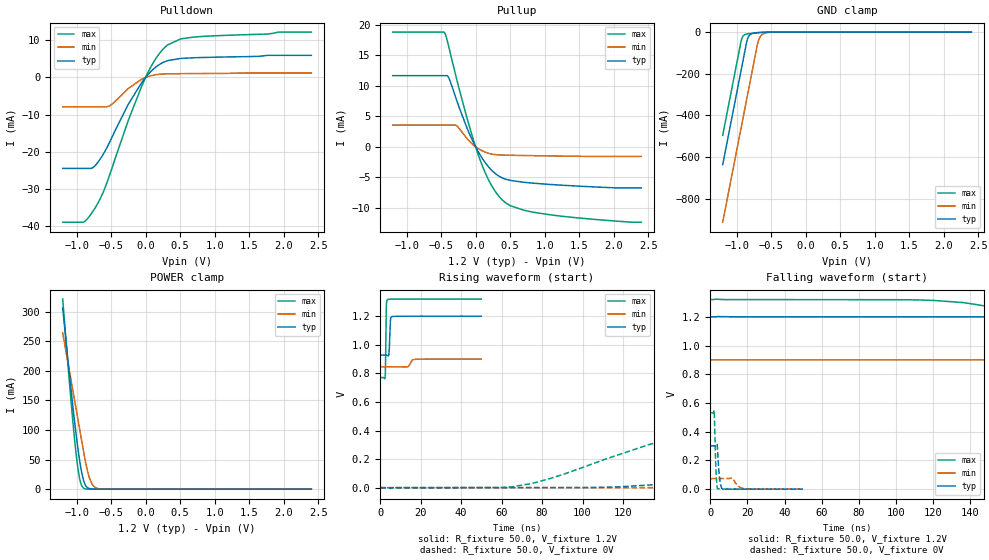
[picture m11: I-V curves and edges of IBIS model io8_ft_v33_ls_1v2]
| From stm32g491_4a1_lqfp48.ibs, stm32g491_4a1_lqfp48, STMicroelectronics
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[Model]   io8_ft_v33_ls_1v2
Model_type I/O
Polarity   Non-Inverting
Enable   Active-Low
| CAP_THRESHOLD on pad IOFT is "UDTCAPC" :
| Rising=30.0% of vddiom   Falling=70.0% of vddiom
| C_comp min and max val. don't necessarily correlate with the min and max pvt
| but are the smallest and greatest pad capacitance found.
| var   typ   min   max
C_comp   1.89803pF  1.82361pF  1.89870pF
|C_comp_pullup   1.10150pF  1.05680pF  1.08555pF
|C_comp_pulldown   796.53000fF  766.80501fF  813.15001fF
Vinl = 270.0mV
Vinh = 924.0mV
Vmeas = 600.0mV   | Reference voltage for timing measurements
Cref  = 50.0pF   | Timing specification test load capacitance value
Rref  = 100.0MOhm   | Timing specification test load resistance value
Vref  = 600.0mV   | Timing specification test load voltage
[Model Spec]
| TIME_THRESHOLD on pin ZIV33M is "CMOS" :
| Rising=50.0% of vddiom   Falling=50.0% of vddiom
Vinl 458.70000mV 364.70000mV 499.70000mV
Vinh 728.30000mV 548.30000mV 792.30000mV
| variable   typ   min   max
[Temperature Range] 25.0 140.0 -40.0
| variable   typ   min   max
[Voltage Range] 1.2V 900.0mV 1.32V
| variable   typ   min   max
[POWER Clamp Reference] 1.2V 900.0mV 1.32V
| variable   typ   min   max
[GND Clamp Reference] 0V 0V 0V
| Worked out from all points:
|   slope of the pulldown table from 0 to 0.18 V, typ, clamps not added: 55.6 ohm
|   slope of the pullup table from 0 to 0.18 V, typ, clamps not added: 56.3 ohm
|   GND clamp passes 1 mA (typ) near -0.61 V on its own axis
|   POWER clamp passes 1 mA (typ) near -0.81 V on its own axis
|   rising waveform, R_fixture 50.0, V_fixture 1.2V: 20-80 % time 429ps typ, 1.26ns min, 275ps max; typ from 0.928 V to 1.2 V
|   falling waveform, R_fixture 50.0, V_fixture 1.2V: 20-80 % time 167ns typ, 497ns min, 99.6ns max; typ from 1.2 V to 0.928 V
|   rising waveform, R_fixture 50.0, V_fixture 0V: 20-80 % time 126ns typ, 293ns min, 77.7ns max; typ from 0 V to 0.302 V
|   falling waveform, R_fixture 50.0, V_fixture 0V: 20-80 % time 1.14ns typ, 2.96ns min, 779ps max; typ from 0.302 V to 0 V
[POWER Clamp]
-1.2V     306.2mA    263.9mA    321.2mA
-1.09V    180mA      191mA      163.4mA
-1.05V    136.9mA    164.5mA    110.9mA
-1.01V    96.55mA    138mA      64.02mA
-960mV    52.29mA    104.9mA    20.68mA
-930mV    31.08mA    85.01mA    7.282mA
-900mV    15.67mA    65.13mA    2.025mA
-850mV    3.417mA    35.2mA     196.2uA
-800mV    570.2uA    14.97mA    18.13uA
-750mV    88.98uA    4.952mA    1.667uA
-680mV    6.495uA    823.9uA    58.96nA
2.4V      0A         0A         0A
[GND Clamp]
-1.2V     -636.9mA   -913.2mA   -495.8mA
-940mV    -194.9mA   -471.2mA   -53.78mA
-920mV    -160.9mA   -437.2mA   -28.06mA
-890mV    -109.9mA   -386.2mA   -14.28mA
-850mV    -43.09mA   -318.2mA   -9.18mA
-820mV    -18.33mA   -267.2mA   -7.516mA
-780mV    -7.695mA   -199.2mA   -5.87mA
-690mV    -2.548mA   -49.42mA   -2.9mA
-660mV    -1.868mA   -24.06mA   -2.112mA
-630mV    -1.326mA   -12.18mA   -1.447mA
-430mV    -19.32uA   -177.8uA   -8.091uA
2.4V      298.5pA    77.04nA    207.1pA
| variable   typ   min   max
[Pullup Reference] 1.2V 900.0mV 1.32V
| variable   typ   min   max
[Pulldown Reference] 0V 0V 0V
[Pullup]
-1.2V     11.66mA    3.558mA    18.8mA
-450mV    11.66mA    3.558mA    18.75mA
-390mV    11.34mA    3.558mA    16.48mA
-280mV    7.814mA    3.503mA    11.36mA
-110mV    2.689mA    1.153mA    4.138mA
50mV      -1.039mA   -379.5uA   -1.685mA
140mV     -2.617mA   -893.8uA   -4.276mA
240mV     -3.942mA   -1.22mA    -6.527mA
430mV     -5.313mA   -1.379mA   -9.149mA
700mV     -5.836mA   -1.444mA   -10.42mA
1.08V     -6.193mA   -1.513mA   -11.17mA
2.4V      -6.768mA   -1.592mA   -12.38mA
[Pulldown]
-1.2V     -24.47mA   -7.9mA     -38.94mA
-890mV    -24.47mA   -7.9mA     -38.83mA
-720mV    -23.49mA   -7.9mA     -34.76mA
-610mV    -20.54mA   -7.9mA     -30.69mA
-510mV    -17.01mA   -7.489mA   -25.69mA
-250mV    -7.205mA   -2.955mA   -11.53mA
0V        -15fA      0A         0A
160mV     2.97mA     779.8uA    5.417mA
320mV     4.547mA    983.4uA    8.763mA
510mV     5.135mA    1.031mA    10.4mA
700mV     5.311mA    1.057mA    10.88mA
2.4V      5.965mA    1.209mA    12.22mA
[Ramp]
dV/dt_r 181.26171mV/126.45979ns 44.06078mV/293.26856ns 319.20891mV/77.70253ns
dV/dt_f 162.93173mV/167.45028ns 32.18093mV/470.94975ns 329.57828mV/99.63779ns
R_load = 50.0
| Removed startup time: 0s 0s 0s  .
| Removed end time: 49.9ns.
[Rising Waveform]
R_fixture   = 50.0
V_fixture   = 1.2V
V_fixture_min = 900.0mV
V_fixture_max = 1.32V
0s        928.4mV    846.4mV    770.7mV
2.4ns     928.6mV    846.4mV    772mV
2.6ns     928.6mV    846.4mV    870.4mV
2.9ns     928.6mV    846.4mV    1.226V
3ns       928.4mV    846.4mV    1.279V
3.6ns     925.3mV    846.4mV    1.317V
4.3ns     941.8mV    846.4mV    1.319V
5.1ns     1.181V     846.4mV    1.32V
5.8ns     1.197V     846.4mV    1.32V
49.9ns    1.2V       900mV      1.32V
| Removed startup time: 0s 0s 0s  .
| Removed end time: 2.9999us.
[Falling Waveform]
R_fixture   = 50.0
V_fixture   = 1.2V
V_fixture_min = 900.0mV
V_fixture_max = 1.32V
0s        1.2V       900mV      1.32V
136.4ns   1.2V       900mV      1.299V
169.8ns   1.2V       900mV      1.217V
219.9ns   1.196V     900mV      1.016V
273.1ns   1.172V     900mV      876.9mV
416.6ns   1.017V     900mV      784.4mV
527.4ns   960.2mV    899.9mV    773.7mV
789.5ns   931.6mV    897.9mV    770.7mV
1.579us   928.4mV    854.1mV    770.7mV
3us       928.4mV    846.4mV    770.7mV
| Removed startup time: 0s 0s 0s  .
| Removed end time: 1.9999us.
[Rising Waveform]
R_fixture   = 50.0
V_fixture   = 0V
V_fixture_min = 0V
V_fixture_max = 0V
0s        -2.594uV   2.342uV    -6.117uV
65.1ns    -18.74uV   -5.425uV   5.813mV
117.2ns   5.064mV    -2.213uV   227.4mV
170.8ns   73.37mV    14.46uV    425.6mV
202.3ns   129.2mV    51.25uV    480.5mV
268.1ns   221.9mV    308.4uV    521.1mV
325ns     266.9mV    2.031mV    529mV
480.8ns   299.6mV    21.49mV    532mV
958.9ns   302.1mV    70.7mV     532mV
2us       302.1mV    73.43mV    532mV
| Removed startup time: 0s 0s 0s  .
| Removed end time: 49.9ns.
[Falling Waveform]
R_fixture   = 50.0
V_fixture   = 0V
V_fixture_min = 0V
V_fixture_max = 0V
0s        302.1mV    73.43mV    532mV
2.1ns     301.9mV    73.44mV    546.5mV
3ns       301.9mV    73.44mV    149.7mV
3.5ns     314.6mV    73.44mV    35.76mV
3.9ns     278.2mV    73.44mV    3.496mV
5ns       78.51mV    73.44mV    954.9uV
6.6ns     1.475mV    73.4mV     194.5uV
11.9ns    44.84uV    77.73mV    34.04uV
19.1ns    15.37uV    910.7uV    23.96uV
49.9ns    15.62uV    11.77uV    24.75uV
